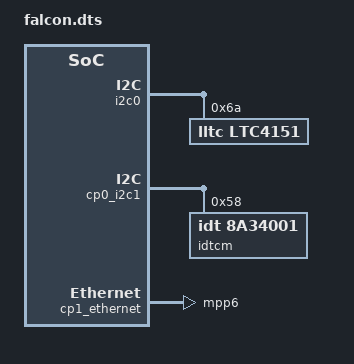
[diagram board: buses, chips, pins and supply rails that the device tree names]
/dts-v1/;
/plugin/;

&i2c0 {
	#address-cells = <1>;
	#size-cells = <0>;

	ltc4151@6a {
		compatible = "lltc,ltc4151";
		reg = <0x6a>;
		shunt-resistor-micro-ohms = <20000>;
	};
};

&cp0_i2c1 {
	#address-cells = <1>;
	#size-cells = <0>;
	
    idtcm: i2c-idtcm-dpll@58 {
		#clock-cells = <0>;
        compatible = "idt,8a34001";
        reg = <0x58>;
    };
};

&cp0_eth0 {
	siklu_port_name = "eth2";
};

&cp0_eth1 {
	status = "disabled";
};

&cp1_eth0 {
	siklu_port_name = "eth1";
};

&cp1_pinctrl {
	cp1_mpp6_gpio: cp1-mpp6-gpio {
		marvell,pins = "mpp6";
		marvell,function = "gpio";
	};

	cp1_mpp6_ptp: cp1-mpp6-ptp {
		marvell,pins = "mpp6";
		marvell,function = "ptp";
	};
};

&cp1_ethernet {
	pinctrl-names = "default", "extts";
	pinctrl-0 = <&cp1_mpp6_gpio>;
	pinctrl-1 = <&cp1_mpp6_ptp>;
};

// not needed in falcon
&cp1_mdio {
	status = "disabled";
};


/*
*  DEV-6442: Add initialization order to the falcon 3310 phy and modems
*  By defining i2c-idtcm-dpll as a clock (#clock-cells = <0>;) we 
*  can create dependency for this clock in the phy (cp0_xmdio) and 
*  the pcies( modems) sections and thus to cause the i2c-idtcm-dpll 
*  driver to be initialized before them. otherwise the dpll init can 
*  cause issues to the modems and the 3310 phy
*
*  DEV-7615: Use depends-on to probe the pcies in order
*/

&cp0_xmdio {
    assigned-clocks = <&idtcm 0>;
    assigned-clock-parents = <&idtcm 0>;
};

&cp0_pcie0 {
    assigned-clocks = <&idtcm 0>;
    assigned-clock-parents = <&idtcm 0>;
};

&cp0_pcie1 {
    assigned-clocks = <&idtcm 0>;
    assigned-clock-parents = <&idtcm 0>;
    depends-on = <&cp0_pcie0>;
};


&cp1_pcie0 {
    assigned-clocks = <&idtcm 0>;
    assigned-clock-parents = <&idtcm 0>;
    depends-on = <&cp0_pcie1>;
};


&cp1_pcie1 {
    assigned-clocks = <&idtcm 0>;
    assigned-clock-parents = <&idtcm 0>;
    depends-on = <&cp1_pcie0>;
};
